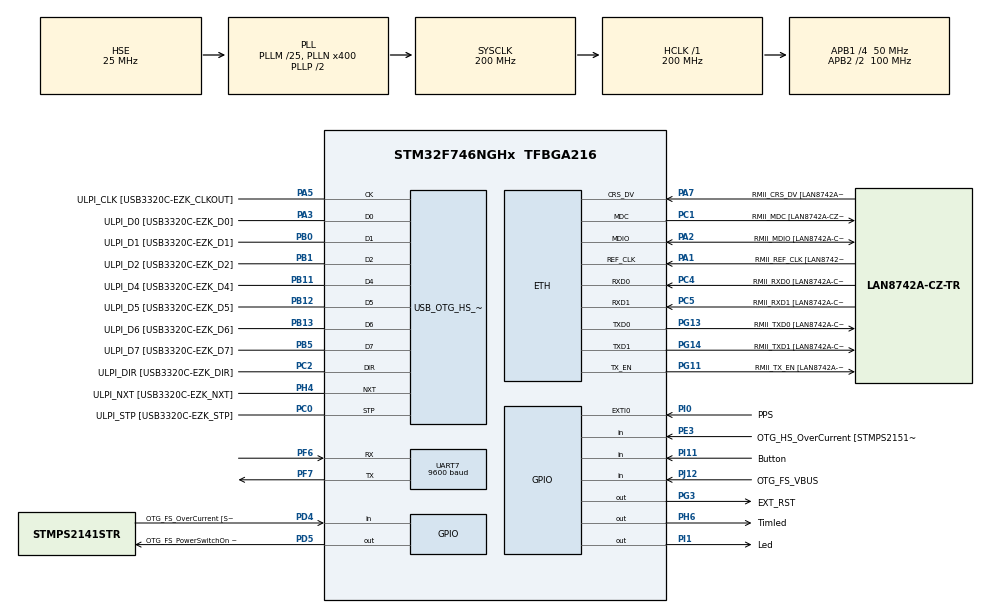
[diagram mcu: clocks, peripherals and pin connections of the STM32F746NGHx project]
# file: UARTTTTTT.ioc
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VP_SYS_VS_tim6.Mode=TIM6
NVIC.TIM6_DAC_IRQn=true\:0\:0\:false\:false\:true\:false\:false\:true
PA14.GPIO_Label=SWCLK
PH6.GPIO_Label=Timled
VP_RTC_VS_RTC_Activate.Mode=RTC_Enabled
PC5.Mode=RMII
PB13.Signal=USB_OTG_HS_ULPI_D6
PG13.Signal=ETH_TXD0
RCC.SYSCLKSource=RCC_SYSCLKSOURCE_PLLCLK
LWIP.NETMASK_ADDRESS=255.255.255.000
LWIP.LWIP_HTTPD=1
PI0.GPIO_PuPd=GPIO_PULLDOWN
PF7.Signal=UART7_TX
RCC.PLL48CLockSelection=RCC_CLK48SOURCE_PLLSAIP
PD4.Signal=GPIO_Input
RCC.APB2TimFreq_Value=200000000
PH1/OSC_OUT.Signal=RCC_OSC_OUT
PB3.Mode=Trace_Asynchronous_SW
RCC.RTCClockSelection=RCC_RTCCLKSOURCE_LSE
PB12.GPIO_Label=ULPI_D5 [USB3320C-EZK_D5]
PG14.Mode=RMII
PC4.GPIO_Label=RMII_RXD0 [LAN8742A-CZ-TR_RXD0]
PB1.GPIO_Label=ULPI_D2 [USB3320C-EZK_D2]
VP_FREERTOS_VS_CMSIS_V1.Mode=CMSIS_V1
VP_TIM1_VS_ClockSourceINT.Mode=Internal
Mcu.Package=TFBGA216
RCC.SDMMCClockSelection=RCC_SDMMC1CLKSOURCE_CLK48
PB1.Signal=USB_OTG_HS_ULPI_D2
NVIC.TimeBase=TIM6_DAC_IRQn
NVIC.TimeBaseIP=TIM6
VP_RTC_VS_RTC_Calendar.Mode=RTC_Calendar
RCC.APB2CLKDivider=RCC_HCLK_DIV2
RCC.APB1TimFreq_Value=100000000
PC14/OSC32_IN.GPIO_Label=RCC_OSC32_IN
TIM1.Period=49999
PB13.Mode=Host_HS
PI11.Signal=GPIO_Input
PC4.Mode=RMII
LWIP.IP_ADDRESS=192.168.000.055
PA5.Mode=Host_HS
FREERTOS.Tasks01=defaultTask,0,128,StartDefaultTask,Default,NULL,Dynamic,NULL,NULL;myTask02,-3,128,tcpecho_thread,Default,NULL,Dynamic,NULL,NULL
PC2.Signal=USB_OTG_HS_ULPI_DIR
PB11.GPIO_Label=ULPI_D4 [USB3320C-EZK_D4]
LWIP.LWIP_DHCP=0
PC0.Signal=USB_OTG_HS_ULPI_STP
RCC.APB1CLKDivider=RCC_HCLK_DIV4
PG13.GPIO_Label=RMII_TXD0 [LAN8742A-CZ-TR_TXD0]
RCC.PLLSAIRDiv=RCC_PLLSAIDIVR_8
PA3.Mode=Host_HS
TIM1.AutoReloadPreload=TIM_AUTORELOAD_PRELOAD_ENABLE
LWIP.LWIP_HTTPD_SUPPORT_POST=1
PB11.Mode=Host_HS
LWIP.LWIP_NETIF_LINK_CALLBACK=0
RTC.Format=RTC_FORMAT_BIN
PA5.Signal=USB_OTG_HS_ULPI_CK
PA1.Mode=RMII
PI1.Signal=GPIO_Output
PA1.GPIO_Label=RMII_REF_CLK [LAN8742A-CZ-TR_REFCLK0]
PA13.Mode=Trace_Asynchronous_SW
PG14.GPIO_Label=RMII_TXD1 [LAN8742A-CZ-TR_TXD1]
PH4.Mode=Host_HS
PB5.Signal=USB_OTG_HS_ULPI_D7
ETH.MediaInterface=ETH_MEDIA_INTERFACE_RMII
PA5.GPIO_Label=ULPI_CLK [USB3320C-EZK_CLKOUT]
PG11.Mode=RMII
ProjectManager.HeapSize=0x200
LWIP.LWIP_HTTPD_CUSTOM_FILES=1
PB1.Mode=Host_HS
LWIP.Version=v2.1.2_Cube
PH6.Signal=GPIO_Output
PF6.Mode=Asynchronous
NVIC.TIM1_UP_TIM10_IRQn=true\:5\:0\:false\:false\:true\:true\:true\:true
UART7.BaudRate=9600
NVIC.PriorityGroup=NVIC_PRIORITYGROUP_4
PI11.GPIO_Label=Button
PE3.Signal=GPIO_Input
PC15/OSC32_OUT.Signal=RCC_OSC32_OUT
PG3.GPIO_Label=EXT_RST
PB0.Signal=USB_OTG_HS_ULPI_D1
RTC.Date=31
PC1.Signal=ETH_MDC
PI1.GPIO_Label=Led
PC1.Mode=RMII
Mcu.Family=STM32F7
RCC.CortexFreq_Value=200000000
PC15/OSC32_OUT.GPIO_Label=RCC_OSC32_OUT
PC0.GPIO_Label=ULPI_STP [USB3320C-EZK_STP]
RTC.WeekDay=RTC_WEEKDAY_SUNDAY
PC14/OSC32_IN.Mode=LSE-External-Oscillator
PB0.GPIO_Label=ULPI_D1 [USB3320C-EZK_D1]
PB13.GPIO_Label=ULPI_D6 [USB3320C-EZK_D6]
PB11.Signal=USB_OTG_HS_ULPI_D4
PG11.Signal=ETH_TX_EN
ProjectManager.StackSize=0x400
TIM1.Prescaler=7999
PH0/OSC_IN.Mode=HSE-External-Oscillator
RCC.HCLKFreq_Value=200000000
RCC.AHBFreq_Value=200000000
NVIC.ETH_IRQn=true\:5\:0\:false\:false\:true\:true\:false\:true
RCC.HSE_VALUE=25000000
RTC.Minutes=59
RTC.Month=RTC_MONTH_DECEMBER
PA14.Mode=Trace_Asynchronous_SW
PI0.Signal=GPXTI0
PB5.Mode=Host_HS
PJ12.GPIO_Label=OTG_FS_VBUS
PG13.Mode=RMII
LWIP.LWIP_HTTPD_CGI=0
PH1/OSC_OUT.Mode=HSE-External-Oscillator
PB12.Mode=Host_HS
PJ12.Signal=GPIO_Input
PC14/OSC32_IN.Signal=RCC_OSC32_IN
PD5.GPIO_Label=OTG_FS_PowerSwitchOn [STMPS2141STR_EN]
PA2.GPIO_Label=RMII_MDIO [LAN8742A-CZ-TR_MDIO]
PI0.GPIO_Label=PPS
RCC.PLLSAIN=384
RCC.PLLSAIP=RCC_PLLSAIP_DIV8
RCC.PLLSAIR=5
PB5.GPIO_Label=ULPI_D7 [USB3320C-EZK_D7]
PG11.GPIO_Label=RMII_TX_EN [LAN8742A-CZ-TR_TXEN]
PC5.Signal=ETH_RXD1
PC2.GPIO_Label=ULPI_DIR [USB3320C-EZK_DIR]
PA3.Signal=USB_OTG_HS_ULPI_D0
PB3.GPIO_Label=SWO
RCC.PLLSourceVirtual=RCC_PLLSOURCE_HSE
PA7.Mode=RMII
PG3.Signal=GPIO_Output
PC4.Signal=ETH_RXD0
PC2.Mode=Host_HS
PD5.Signal=GPIO_Output
LWIP.LWIP_HTTPD_MAX_TAG_NAME_LEN=16
ETH.PhyAddress=0
VP_LWIP_VS_Enabled.Mode=Enabled
LWIP.GATEWAY_ADDRESS=192.168.000.001
PC0.Mode=Host_HS
PA13.Signal=SYS_JTMS-SWDIO
PF7.Mode=Asynchronous
PH4.Signal=USB_OTG_HS_ULPI_NXT
PF6.Signal=UART7_RX
ProjectManager.TargetToolchain=STM32CubeIDE
RCC.USBFreq_Value=48000000
CORTEX_M7.FlashInterface=AXI_Enabled
PA1.Signal=ETH_REF_CLK
PG14.Signal=ETH_TXD1
PB0.Mode=Host_HS
board=STM32F746G-DISCO
RCC.VCOOutputFreq_Value=400000000
PH4.GPIO_Label=ULPI_NXT [USB3320C-EZK_NXT]
PH0/OSC_IN.Signal=RCC_OSC_IN
RCC.APB2Freq_Value=100000000
LWIP.LWIP_HTTPD_CGI_SSI=0
PD4.GPIO_Label=OTG_FS_OverCurrent [STMPS2141STR_Fault]
PC1.GPIO_Label=RMII_MDC [LAN8742A-CZ-TR_MDC]
PD5.PinState=GPIO_PIN_SET
Mcu.Name=STM32F746NGHx
PA13.GPIO_Label=SWDIO
PA2.Signal=ETH_MDIO
PB3.Signal=SYS_JTDO-SWO
NVIC.EXTI0_IRQn=true\:5\:0\:false\:false\:true\:true\:true\:true
RCC.SYSCLKFreq_VALUE=200000000
RTC.Hours=23
PA7.GPIO_Label=RMII_CRS_DV [LAN8742A-CZ-TR_CRS_DV]
PC5.GPIO_Label=RMII_RXD1 [LAN8742A-CZ-TR_RXD1]
PC15/OSC32_OUT.Mode=LSE-External-Oscillator
PA14.Signal=SYS_JTCK-SWCLK
RCC.HSI_VALUE=16000000
PH0/OSC_IN.GPIO_Label=OSC_25M [NZ2520SB-25.00M_OUT]
RCC.PLLQ=9
RCC.PLLM=25
RCC.PLLN=400
PA2.Mode=RMII
PE3.GPIO_Label=OTG_HS_OverCurrent [STMPS2151STR_FAULT]
RCC.APB1Freq_Value=50000000
RCC.PLLI2SN=100
PB12.Signal=USB_OTG_HS_ULPI_D5
PA3.GPIO_Label=ULPI_D0 [USB3320C-EZK_D0]
PA7.Signal=ETH_CRS_DV
NVIC.UART7_IRQn=true\:5\:0\:false\:false\:true\:true\:true\:true

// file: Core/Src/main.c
/* USER CODE BEGIN Header */
/**
  ******************************************************************************
  * @file           : main.c
  * @brief          : Main program body
  ******************************************************************************
  * @attention
  *
  * <h2><center>&copy; Copyright (c) 2022 STMicroelectronics.
  * All rights reserved.</center></h2>
  *
  * This software component is licensed by ST under Ultimate Liberty license
  * SLA0044, the "License"; You may not use this file except in compliance with
  * the License. You may obtain a copy of the License at:
  *                             www.st.com/SLA0044
  *
  ******************************************************************************
  */
/* USER CODE END Header */
#include "main.h"
#include "cmsis_os.h"
#include "lwip.h"

/* USER CODE BEGIN Includes */
#include "stdio.h"
#include "string.h"
#include "stdlib.h"
#include <math.h>
#include "time.h"
#include "lwip/api.h"
#include "lwip/netif.h"
#include "lwip/apps/httpd.h"
#include "myapi.h"
#include "local_files.h"
#include "MyFlash.h"
#include <sys/socket.h>
#include <arpa/inet.h>
//#include "localtypes.h"
//#include "util.h"
/* USER CODE END Includes */

/* USER CODE BEGIN PTD */

#define NTP_MS_TO_FS_U32  (4294967296.0 / 1000.0)
#define NTP_MS_TO_FS_U16  (65536.0 / 1000.0)
/* Number of seconds between 1970 and Feb 7, 2036 06:28:16 UTC (epoch 1) */
#define DIFF_SEC_1970_2036          ((uint32_t)2085978496L)
#define NTP_TIMESTAMP_DELTA 2208988800ull

/* USER CODE END PTD */

RTC_HandleTypeDef hrtc;

TIM_HandleTypeDef htim1;

UART_HandleTypeDef huart7;

osThreadId defaultTaskHandle;
osThreadId myTask02Handle;
/* USER CODE BEGIN PV */
time_t rtc_read(void);
char calc_crc(char c,int cnt);
void tcpecho_init(void);
/* USER CODE END PV */

void SystemClock_Config(void);
static void MX_GPIO_Init(void);
static void MX_UART7_Init(void);
static void MX_RTC_Init(void);
static void MX_TIM1_Init(void);
void StartDefaultTask(void const * argument);
void tcpecho_thread(void const * argument);

/* USER CODE BEGIN 0 */
// это же дебаг
int _write(int file, char *ptr,int len){
	int i=0;
	for(i=0;i<len;i++)
		ITM_SendChar((*ptr++));
	return len;
}

	 //string, counts and two smoking errors
int ERRORS=0;
int Tipe_Mes=0;// 1-ZDA  2-RMC
int Test=0;
long long int gps_unix=0;
int zpt=0;
int start_crc=0;
int z=0;
int ind=0;
int crc=0;
int count=0;
int dec;
int PPS_count=0;//вынес для проверки
int PPS_mass[10]={0};//вынес для проверки
int crc_pars=0;
char time_buff[9]={0};
char crc_buff[3]={0};
char buff[1]={0};
int dataReceived=1;
int dataTransmitted=1;
char year_str[2]={0};
int century=100;
//_______________________________0_______1_______2________3_______4______5_______6_______7_______8_______9______10______11_____12_____13___14____15____16_____17______18_____19______20_____21______22_____23_____24_____25_____26_____27______28_____29______30
//int offset_minutes[]={         0,      0,      0,       0,      0,     0,      0,      0,    -30,      0,      0,      0,     0,     0,   0,    0,   30,     0,      0,    30,      0,    30,      0,     0,     0,    30,     0,     0,      0,     0,      0 };
//int offset_hours[]={         -11,    -10,     -9,      -8,     -7,    -6,     -5,     -4,     -3,      3,     -2,     -1,     0,     1,   2,    3,    3,     4,      5,     5,      6,     6,      7,     8,     9,     9,    10,    11,     12,    13,     14 };
const int offset_unix[]={   -39600, -36000, -32400,  -28800, -25200,-21600, -18000, -14400, -12600, -10800,  -7200,  -3600,     0, -3600,7200,10800,12600, 14400,  18000, 19800,  21600, 23400,  25200, 28800, 32400, 34200, 36000, 39600,  43200, 46800,  50400};
struct tm Time_calc;

typedef struct
{
	uint8_t li_vn_mode;

	uint8_t stratum;
	uint8_t poll;
	uint8_t precision;

	uint32_t rootDelay;

	uint16_t rootDispersion_s;
	uint16_t rootDispersion_f;

	uint32_t refId;

	uint32_t refTm_s;
	uint32_t refTm_f;

	uint32_t origTm_s;
	uint32_t origTm_f;

	uint32_t rxTm_s;
	uint32_t rxTm_f;

	uint32_t txTm_s;
	uint32_t txTm_f;

} ntp_packet_t;

/* From GNSS PPS */
 uint32_t time_ref_s;
 uint32_t time_ref_f;

typedef enum {
	NTPD_UNSYNC = 0,
	NTPD_IN_LOCK = 1,
	NTPD_IN_HOLDOVER = 2,
	NTPD_DEGRADED = 3
} ntpd_status_status_t;
typedef struct {
	ntpd_status_status_t status;
	uint32_t requests_count;
	uint8_t stratum;
} ntpd_status_t;

ntpd_status_t ntpd_status = {
  .status = NTPD_IN_LOCK,
  .requests_count = 0,
  .stratum = 1
};
//RTCDateTime ntpd_datetime;

/* USER CODE END 0 */

int main(void)
{
  /* USER CODE BEGIN 1 */

	memset(&gps,0,sizeof(gps));
	// ZDA-38;RMC-68

	 //включение ZDA
	 char MESZDA[]={0xB5, 0x62, 0x06, 0x01, 0x08, 0x00, 0xF0, 0x08, 0x01, 0x01, 0x00, 0x01, 0x01, 0x00, 0x0B, 0x6B};
	 char CONZDA[]={0xB5, 0x62, 0x06, 0x01, 0x02, 0x00, 0xF0, 0x08, 0x01, 0x19};

	 //отключение ZDA
	 //char MESZDA[]={0xB5, 0x62, 0x06, 0x01, 0x08, 0x00, 0xF0, 0x08, 0x00, 0x00, 0x00, 0x00, 0x00, 0x00, 0x07, 0x5B};
	 //char CONZDA[]={0xB5, 0x62, 0x06, 0x01, 0x02, 0x00, 0xF0, 0x08, 0x01, 0x19};

	 //отключение остального
	 char MESGGA[]={0xB5, 0x62, 0x06, 0x01, 0x08, 0x00, 0xF0, 0x00, 0x00, 0x00, 0x00, 0x00, 0x00, 0x00, 0xFF, 0x23};
	 char CONGGA[]={0xB5, 0x62, 0x06, 0x01, 0x02, 0x00, 0xF0, 0x00, 0xF9, 0x11};

	 char MESGLL[]={0xB5, 0x62, 0x06, 0x01, 0x08, 0x00, 0xF0, 0x01, 0x00, 0x00, 0x00, 0x00, 0x00, 0x00, 0x00, 0x2A};
	 char CONGLL[]={0xB5, 0x62, 0x06, 0x01, 0x02, 0x00, 0xF0, 0x01, 0xFA, 0x12};

	 char MESGSA[]={0xB5, 0x62, 0x06, 0x01, 0x08, 0x00, 0xF0, 0x02, 0x00, 0x00, 0x00, 0x00, 0x00, 0x00, 0x01, 0x31};
	 char CONGSA[]={0xB5, 0x62, 0x06, 0x01, 0x02, 0x00, 0xF0, 0x02, 0xFB, 0x13};

	 char MESGSV[]={0xB5, 0x62, 0x06, 0x01, 0x08, 0x00, 0xF0, 0x03, 0x00, 0x00, 0x00, 0x00, 0x00, 0x00, 0x02, 0x38};
	 char CONGSV[]={0xB5, 0x62, 0x06, 0x01, 0x02, 0x00, 0xF0, 0x03, 0xFC, 0x14};

	 char MESVTG[]={0xB5, 0x62, 0x06, 0x01, 0x08, 0x00, 0xF0, 0x05, 0x00, 0x00, 0x00, 0x00, 0x00, 0x00, 0x04, 0x46};
	 char CONVTG[]={0xB5, 0x62, 0x06, 0x01, 0x02, 0x00, 0xF0, 0x05, 0xFE, 0x16};

	 //отключение RMC на всякий
	 //char MESRMC[]={0xB5, 0x62, 0x06, 0x01, 0x08, 0x00, 0xF0, 0x04, 0x00, 0x00, 0x00, 0x00, 0x00, 0x00, 0x03, 0x3F};
	 //char CONRMC[]={0xB5, 0x62, 0x06, 0x01, 0x02, 0x00, 0xF0, 0x04, 0xFD, 0x15};

	 //включение RMC
	 char MESRMC[]={0xB5, 0x62, 0x06, 0x01, 0x08, 0x00, 0xF0, 0x04, 0x01, 0x01, 0x00, 0x01, 0x01, 0x00, 0x07, 0x4F};
	 char CONRMC[]={0xB5, 0x62, 0x06, 0x01, 0x02, 0x00, 0xF0, 0x04, 0xFD, 0x15};

  /* USER CODE END 1 */

  /* MCU Configuration--------------------------------------------------------*/

  /* Reset of all peripherals, Initializes the Flash interface and the Systick. */
  HAL_Init();

  /* Configure the system clock */
  SystemClock_Config();

  /* USER CODE BEGIN SysInit */
  //MX_LWIP_Init();
  /* USER CODE END SysInit */

  /* Initialize all configured peripherals */
  MX_GPIO_Init();
  MX_UART7_Init();
  MX_RTC_Init();
  MX_TIM1_Init();
  /* USER CODE BEGIN 2 */
  //TIM1
  HAL_TIM_Base_Start_IT(&htim1);

  HAL_Delay(5000);

 //ON ZDA
  HAL_UART_Transmit(&huart7,(uint8_t*) MESZDA, 16, 1000);
  HAL_Delay(100);
  HAL_UART_Transmit(&huart7,(uint8_t*) CONZDA, 10, 1000);
  HAL_Delay(100);

  // OFF protokol
  HAL_UART_Transmit(&huart7,(uint8_t*) MESGGA, 16, 1000);
  HAL_Delay(100);
  HAL_UART_Transmit(&huart7,(uint8_t*) CONGGA, 10, 1000);
  HAL_Delay(100);

  HAL_UART_Transmit(&huart7,(uint8_t*) MESGLL, 16, 1000);
  HAL_Delay(100);
  HAL_UART_Transmit(&huart7,(uint8_t*) CONGLL, 10, 1000);
  HAL_Delay(100);

  HAL_UART_Transmit(&huart7,(uint8_t*) MESGSA, 16, 1000);
  HAL_Delay(100);
  HAL_UART_Transmit(&huart7,(uint8_t*) CONGSA, 10, 1000);
  HAL_Delay(100);

  HAL_UART_Transmit(&huart7,(uint8_t*) MESGSV, 16, 1000);
  HAL_Delay(100);
  HAL_UART_Transmit(&huart7,(uint8_t*) CONGSV, 10, 1000);
  HAL_Delay(100);

  HAL_UART_Transmit(&huart7,(uint8_t*) MESVTG, 16, 1000);
  HAL_Delay(100);
  HAL_UART_Transmit(&huart7,(uint8_t*) CONVTG, 10, 1000);
  HAL_Delay(100);

  //отключение и включение RMC на всякий
  HAL_UART_Transmit(&huart7,(uint8_t*) MESRMC, 16, 1000);
  HAL_Delay(100);
  HAL_UART_Transmit(&huart7,(uint8_t*) CONRMC, 10, 1000);
  HAL_Delay(100);

  //start the web server
  int offset =0;
 ReadDeviceAddressOffset((char*) &user_info, sizeof(user_info), offset);
 offset+=sizeof(user_info);
 //Обнуление PPS
 PPS_count=0;
 gps.year[0]='V';
  /* USER CODE END 2 */

  /* Create the thread(s) */
  /* definition and creation of defaultTask */
  osThreadDef(defaultTask, StartDefaultTask, osPriorityNormal, 0, 128);
  defaultTaskHandle = osThreadCreate(osThread(defaultTask), NULL);

  /* definition and creation of myTask02 */
  osThreadDef(myTask02, tcpecho_thread, osPriorityIdle, 0, 128);
  myTask02Handle = osThreadCreate(osThread(myTask02), NULL);

  /* Start scheduler */
  osKernelStart();

  /* We should never get here as control is now taken by the scheduler */
  /* Infinite loop */
  while (1)
  {

  }
}

void SystemClock_Config(void)
{
  RCC_OscInitTypeDef RCC_OscInitStruct = {0};
  RCC_ClkInitTypeDef RCC_ClkInitStruct = {0};
  RCC_PeriphCLKInitTypeDef PeriphClkInitStruct = {0};

  /** Configure LSE Drive Capability
  */
  HAL_PWR_EnableBkUpAccess();
  __HAL_RCC_LSEDRIVE_CONFIG(RCC_LSEDRIVE_LOW);
  /** Configure the main internal regulator output voltage
  */
  __HAL_RCC_PWR_CLK_ENABLE();
  __HAL_PWR_VOLTAGESCALING_CONFIG(PWR_REGULATOR_VOLTAGE_SCALE1);
  /** Initializes the RCC Oscillators according to the specified parameters
  * in the RCC_OscInitTypeDef structure.
  */
  RCC_OscInitStruct.OscillatorType = RCC_OSCILLATORTYPE_HSE|RCC_OSCILLATORTYPE_LSE;
  RCC_OscInitStruct.HSEState = RCC_HSE_ON;
  RCC_OscInitStruct.LSEState = RCC_LSE_ON;
  RCC_OscInitStruct.PLL.PLLState = RCC_PLL_ON;
  RCC_OscInitStruct.PLL.PLLSource = RCC_PLLSOURCE_HSE;
  RCC_OscInitStruct.PLL.PLLM = 25;
  RCC_OscInitStruct.PLL.PLLN = 400;
  RCC_OscInitStruct.PLL.PLLP = RCC_PLLP_DIV2;
  RCC_OscInitStruct.PLL.PLLQ = 9;
  if (HAL_RCC_OscConfig(&RCC_OscInitStruct) != HAL_OK)
  {
    Error_Handler();
  }
  /** Activate the Over-Drive mode
  */
  if (HAL_PWREx_EnableOverDrive() != HAL_OK)
  {
    Error_Handler();
  }
  /** Initializes the CPU, AHB and APB buses clocks
  */
  RCC_ClkInitStruct.ClockType = RCC_CLOCKTYPE_HCLK|RCC_CLOCKTYPE_SYSCLK
                              |RCC_CLOCKTYPE_PCLK1|RCC_CLOCKTYPE_PCLK2;
  RCC_ClkInitStruct.SYSCLKSource = RCC_SYSCLKSOURCE_PLLCLK;
  RCC_ClkInitStruct.AHBCLKDivider = RCC_SYSCLK_DIV1;
  RCC_ClkInitStruct.APB1CLKDivider = RCC_HCLK_DIV4;
  RCC_ClkInitStruct.APB2CLKDivider = RCC_HCLK_DIV2;

  if (HAL_RCC_ClockConfig(&RCC_ClkInitStruct, FLASH_LATENCY_6) != HAL_OK)
  {
    Error_Handler();
  }
  PeriphClkInitStruct.PeriphClockSelection = RCC_PERIPHCLK_RTC|RCC_PERIPHCLK_UART7;
  PeriphClkInitStruct.RTCClockSelection = RCC_RTCCLKSOURCE_LSE;
  PeriphClkInitStruct.Uart7ClockSelection = RCC_UART7CLKSOURCE_PCLK1;
  if (HAL_RCCEx_PeriphCLKConfig(&PeriphClkInitStruct) != HAL_OK)
  {
    Error_Handler();
  }
}

static void MX_RTC_Init(void)
{

  RTC_TimeTypeDef sTime = {0};
  RTC_DateTypeDef sDate = {0};

  /** Initialize RTC Only
  */
  hrtc.Instance = RTC;
  hrtc.Init.HourFormat = RTC_HOURFORMAT_24;
  hrtc.Init.AsynchPrediv = 127;
  hrtc.Init.SynchPrediv = 255;
  hrtc.Init.OutPut = RTC_OUTPUT_DISABLE;
  hrtc.Init.OutPutPolarity = RTC_OUTPUT_POLARITY_HIGH;
  hrtc.Init.OutPutType = RTC_OUTPUT_TYPE_OPENDRAIN;
  if (HAL_RTC_Init(&hrtc) != HAL_OK)
  {
    Error_Handler();
  }

  /** Initialize RTC and set the Time and Date
  */
  sTime.Hours = 23;
  sTime.Minutes = 59;
  sTime.Seconds = 0;
  sTime.DayLightSaving = RTC_DAYLIGHTSAVING_NONE;
  sTime.StoreOperation = RTC_STOREOPERATION_RESET;
  if (HAL_RTC_SetTime(&hrtc, &sTime, RTC_FORMAT_BIN) != HAL_OK)
  {
    Error_Handler();
  }
  sDate.WeekDay = RTC_WEEKDAY_SUNDAY;
  sDate.Month = RTC_MONTH_DECEMBER;
  sDate.Date = 31;
  sDate.Year = 0;

  if (HAL_RTC_SetDate(&hrtc, &sDate, RTC_FORMAT_BIN) != HAL_OK)
  {
    Error_Handler();
  }

}

static void MX_TIM1_Init(void)
{

  TIM_ClockConfigTypeDef sClockSourceConfig = {0};
  TIM_MasterConfigTypeDef sMasterConfig = {0};

  htim1.Instance = TIM1;
  htim1.Init.Prescaler = 7999;
  htim1.Init.CounterMode = TIM_COUNTERMODE_UP;
  htim1.Init.Period = 49999;
  htim1.Init.ClockDivision = TIM_CLOCKDIVISION_DIV1;
  htim1.Init.RepetitionCounter = 0;
  htim1.Init.AutoReloadPreload = TIM_AUTORELOAD_PRELOAD_ENABLE;
  if (HAL_TIM_Base_Init(&htim1) != HAL_OK)
  {
    Error_Handler();
  }
  sClockSourceConfig.ClockSource = TIM_CLOCKSOURCE_INTERNAL;
  if (HAL_TIM_ConfigClockSource(&htim1, &sClockSourceConfig) != HAL_OK)
  {
    Error_Handler();
  }
  sMasterConfig.MasterOutputTrigger = TIM_TRGO_RESET;
  sMasterConfig.MasterOutputTrigger2 = TIM_TRGO2_RESET;
  sMasterConfig.MasterSlaveMode = TIM_MASTERSLAVEMODE_DISABLE;
  if (HAL_TIMEx_MasterConfigSynchronization(&htim1, &sMasterConfig) != HAL_OK)
  {
    Error_Handler();
  }

}

static void MX_UART7_Init(void)
{

  huart7.Instance = UART7;
  huart7.Init.BaudRate = 9600;
  huart7.Init.WordLength = UART_WORDLENGTH_8B;
  huart7.Init.StopBits = UART_STOPBITS_1;
  huart7.Init.Parity = UART_PARITY_NONE;
  huart7.Init.Mode = UART_MODE_TX_RX;
  huart7.Init.HwFlowCtl = UART_HWCONTROL_NONE;
  huart7.Init.OverSampling = UART_OVERSAMPLING_16;
  huart7.Init.OneBitSampling = UART_ONE_BIT_SAMPLE_DISABLE;
  huart7.AdvancedInit.AdvFeatureInit = UART_ADVFEATURE_NO_INIT;
  if (HAL_UART_Init(&huart7) != HAL_OK)
  {
    Error_Handler();
  }

}

static void MX_GPIO_Init(void)
{
  GPIO_InitTypeDef GPIO_InitStruct = {0};

  /* GPIO Ports Clock Enable */
  __HAL_RCC_GPIOE_CLK_ENABLE();
  __HAL_RCC_GPIOG_CLK_ENABLE();
  __HAL_RCC_GPIOB_CLK_ENABLE();
  __HAL_RCC_GPIOA_CLK_ENABLE();
  __HAL_RCC_GPIOJ_CLK_ENABLE();
  __HAL_RCC_GPIOD_CLK_ENABLE();
  __HAL_RCC_GPIOI_CLK_ENABLE();
  __HAL_RCC_GPIOC_CLK_ENABLE();
  __HAL_RCC_GPIOH_CLK_ENABLE();
  __HAL_RCC_GPIOF_CLK_ENABLE();

  /*Configure GPIO pin Output Level */
  HAL_GPIO_WritePin(OTG_FS_PowerSwitchOn_GPIO_Port, OTG_FS_PowerSwitchOn_Pin, GPIO_PIN_SET);

  /*Configure GPIO pin Output Level */
  HAL_GPIO_WritePin(Led_GPIO_Port, Led_Pin, GPIO_PIN_RESET);

  /*Configure GPIO pin Output Level */
  HAL_GPIO_WritePin(EXT_RST_GPIO_Port, EXT_RST_Pin, GPIO_PIN_RESET);

  /*Configure GPIO pin Output Level */
  HAL_GPIO_WritePin(Timled_GPIO_Port, Timled_Pin, GPIO_PIN_RESET);

  /*Configure GPIO pin : OTG_HS_OverCurrent_Pin */
  GPIO_InitStruct.Pin = OTG_HS_OverCurrent_Pin;
  GPIO_InitStruct.Mode = GPIO_MODE_INPUT;
  GPIO_InitStruct.Pull = GPIO_NOPULL;
  HAL_GPIO_Init(OTG_HS_OverCurrent_GPIO_Port, &GPIO_InitStruct);

  /*Configure GPIO pins : ULPI_D7_Pin ULPI_D6_Pin ULPI_D5_Pin ULPI_D2_Pin
                           ULPI_D1_Pin ULPI_D4_Pin */
  GPIO_InitStruct.Pin = ULPI_D7_Pin|ULPI_D6_Pin|ULPI_D5_Pin|ULPI_D2_Pin
                          |ULPI_D1_Pin|ULPI_D4_Pin;
  GPIO_InitStruct.Mode = GPIO_MODE_AF_PP;
  GPIO_InitStruct.Pull = GPIO_NOPULL;
  GPIO_InitStruct.Speed = GPIO_SPEED_FREQ_VERY_HIGH;
  GPIO_InitStruct.Alternate = GPIO_AF10_OTG_HS;
  HAL_GPIO_Init(GPIOB, &GPIO_InitStruct);

  /*Configure GPIO pin : OTG_FS_VBUS_Pin */
  GPIO_InitStruct.Pin = OTG_FS_VBUS_Pin;
  GPIO_InitStruct.Mode = GPIO_MODE_INPUT;
  GPIO_InitStruct.Pull = GPIO_NOPULL;
  HAL_GPIO_Init(OTG_FS_VBUS_GPIO_Port, &GPIO_InitStruct);

  /*Configure GPIO pin : OTG_FS_PowerSwitchOn_Pin */
  GPIO_InitStruct.Pin = OTG_FS_PowerSwitchOn_Pin;
  GPIO_InitStruct.Mode = GPIO_MODE_OUTPUT_PP;
  GPIO_InitStruct.Pull = GPIO_NOPULL;
  GPIO_InitStruct.Speed = GPIO_SPEED_FREQ_LOW;
  HAL_GPIO_Init(OTG_FS_PowerSwitchOn_GPIO_Port, &GPIO_InitStruct);

  /*Configure GPIO pin : OTG_FS_OverCurrent_Pin */
  GPIO_InitStruct.Pin = OTG_FS_OverCurrent_Pin;
  GPIO_InitStruct.Mode = GPIO_MODE_INPUT;
  GPIO_InitStruct.Pull = GPIO_NOPULL;
  HAL_GPIO_Init(OTG_FS_OverCurrent_GPIO_Port, &GPIO_InitStruct);

  /*Configure GPIO pin : Led_Pin */
  GPIO_InitStruct.Pin = Led_Pin;
  GPIO_InitStruct.Mode = GPIO_MODE_OUTPUT_PP;
  GPIO_InitStruct.Pull = GPIO_NOPULL;
  GPIO_InitStruct.Speed = GPIO_SPEED_FREQ_LOW;
  HAL_GPIO_Init(Led_GPIO_Port, &GPIO_InitStruct);

  /*Configure GPIO pin : PPS_Pin */
  GPIO_InitStruct.Pin = PPS_Pin;
  GPIO_InitStruct.Mode = GPIO_MODE_IT_RISING;
  GPIO_InitStruct.Pull = GPIO_PULLDOWN;
  HAL_GPIO_Init(PPS_GPIO_Port, &GPIO_InitStruct);

  /*Configure GPIO pin : Button_Pin */
  GPIO_InitStruct.Pin = Button_Pin;
  GPIO_InitStruct.Mode = GPIO_MODE_INPUT;
  GPIO_InitStruct.Pull = GPIO_NOPULL;
  HAL_GPIO_Init(Button_GPIO_Port, &GPIO_InitStruct);

  /*Configure GPIO pin : ULPI_NXT_Pin */
  GPIO_InitStruct.Pin = ULPI_NXT_Pin;
  GPIO_InitStruct.Mode = GPIO_MODE_AF_PP;
  GPIO_InitStruct.Pull = GPIO_NOPULL;
  GPIO_InitStruct.Speed = GPIO_SPEED_FREQ_VERY_HIGH;
  GPIO_InitStruct.Alternate = GPIO_AF10_OTG_HS;
  HAL_GPIO_Init(ULPI_NXT_GPIO_Port, &GPIO_InitStruct);

  /*Configure GPIO pins : ULPI_STP_Pin ULPI_DIR_Pin */
  GPIO_InitStruct.Pin = ULPI_STP_Pin|ULPI_DIR_Pin;
  GPIO_InitStruct.Mode = GPIO_MODE_AF_PP;
  GPIO_InitStruct.Pull = GPIO_NOPULL;
  GPIO_InitStruct.Speed = GPIO_SPEED_FREQ_VERY_HIGH;
  GPIO_InitStruct.Alternate = GPIO_AF10_OTG_HS;
  HAL_GPIO_Init(GPIOC, &GPIO_InitStruct);

  /*Configure GPIO pin : EXT_RST_Pin */
  GPIO_InitStruct.Pin = EXT_RST_Pin;
  GPIO_InitStruct.Mode = GPIO_MODE_OUTPUT_PP;
  GPIO_InitStruct.Pull = GPIO_NOPULL;
  GPIO_InitStruct.Speed = GPIO_SPEED_FREQ_LOW;
  HAL_GPIO_Init(EXT_RST_GPIO_Port, &GPIO_InitStruct);

  /*Configure GPIO pins : ULPI_CLK_Pin ULPI_D0_Pin */
  GPIO_InitStruct.Pin = ULPI_CLK_Pin|ULPI_D0_Pin;
  GPIO_InitStruct.Mode = GPIO_MODE_AF_PP;
  GPIO_InitStruct.Pull = GPIO_NOPULL;
  GPIO_InitStruct.Speed = GPIO_SPEED_FREQ_VERY_HIGH;
  GPIO_InitStruct.Alternate = GPIO_AF10_OTG_HS;
  HAL_GPIO_Init(GPIOA, &GPIO_InitStruct);

  /*Configure GPIO pin : Timled_Pin */
  GPIO_InitStruct.Pin = Timled_Pin;
  GPIO_InitStruct.Mode = GPIO_MODE_OUTPUT_PP;
  GPIO_InitStruct.Pull = GPIO_NOPULL;
  GPIO_InitStruct.Speed = GPIO_SPEED_FREQ_LOW;
  HAL_GPIO_Init(Timled_GPIO_Port, &GPIO_InitStruct);

  /* EXTI interrupt init*/
  HAL_NVIC_SetPriority(EXTI0_IRQn, 5, 0);
  HAL_NVIC_EnableIRQ(EXTI0_IRQn);

}

/* USER CODE BEGIN 4 */
void HAL_GPIO_EXTI_Callback(uint16_t GPIO_Pin){
	int PPS_Counter_period=0;
	//int PPS_count=0;//вынес для проверки
	//int PPS_mass[10]={0};//вынес для проверки
	if(GPIO_Pin == PPS_Pin) {
		if(PPS_count>2&&PPS_count<12){
		PPS_mass[PPS_count-2] = TIM1->CNT;
		}
		if(PPS_count==12){
			HAL_GPIO_TogglePin(Timled_GPIO_Port, Timled_Pin);
			PPS_Counter_period=(PPS_mass[0]+PPS_mass[1]+PPS_mass[2]+PPS_mass[3]+PPS_mass[4]+PPS_mass[5]+PPS_mass[6]+PPS_mass[7]+PPS_mass[8]+PPS_mass[9])/9;
			TIM1->ARR=PPS_Counter_period;
		}
	}
	if(PPS_count<13){
		PPS_count=PPS_count+1;
		TIM1->CNT = 0;//обнуление счетчика
		}

		}
void HAL_UART_RxCpltCallback(UART_HandleTypeDef *huart) {
	RTC_TimeTypeDef sTime = {0};
	RTC_DateTypeDef sDate = {0};
	if(huart == &huart7) {
		//$ message start
		if(buff[0]=='$'){
			count=0;
			zpt=0;
		}
		//Message error
		else if (count==1&&buff[0]!='G'){
			count=0;
			ERRORS++;
		}

		//CRC calculation
		int res = calc_crc(buff[0],count);
		if(res==1){
			//printf("crc=%d\t crc_buff=%s\t dec=%d\n\r",crc,crc_buff,dec);
			//RTC READ
			rtc_read();
			//printf("rtc_read=%llu\t",rtc_read());
			//comparison RTC&CRC
			//Time_calc.tm_wday = 1;//atoi(gps.);
			Time_calc.tm_mon = atoi(gps.month)-1;//-1 do January==0 month
			Time_calc.tm_mday = atoi(gps.day);
			if(year_str[0]=='0'&&year_str[1]=='0'){
				century=century+100;//atoi(gps.year)
			}
			Time_calc.tm_year = atoi(year_str) + century;
			Time_calc.tm_hour = atoi(gps.hours);
			Time_calc.tm_min = atoi(gps.minuttes);
			Time_calc.tm_sec = atoi(gps.seconds);
			gps_unix = mktime(&Time_calc);
			//printf("tm_year=%d\t tm_mon=%d\t tm_mday=%d\t tm_hour=%d\t tm_min=%d\t tm_sec=%d\n",Time_calc.tm_year,Time_calc.tm_mon,Time_calc.tm_mday,Time_calc.tm_hour,Time_calc.tm_min,Time_calc.tm_sec);
			//printf("rtc_read=%llu\t Time_calc=%llu\n",rtc_read(),gps_unix);

		}
		if(res==1&&gps_unix!=rtc_read()){

			time_ref_s=htonl(gps_unix- DIFF_SEC_1970_2036);
			sTime.Hours = Time_calc.tm_hour;
			sTime.Minutes = Time_calc.tm_min;
			sTime.Seconds = Time_calc.tm_sec;
			sTime.StoreOperation = RTC_STOREOPERATION_RESET;

			if (HAL_RTC_SetTime(&hrtc, &sTime, RTC_FORMAT_BIN) != HAL_OK)
			{
				Error_Handler();
			}
			sDate.Month = Time_calc.tm_mon;
			sDate.Date = Time_calc.tm_mday;
			sDate.Year = Time_calc.tm_year-century;
			if (HAL_RTC_SetDate(&hrtc, &sDate, RTC_FORMAT_BIN) != HAL_OK)
			{
				Error_Handler();
			}

		}
		//printf("rtc_read=%llu\t Time_calc=%llu\n",rtc_read(),gps_unix);

		//ZDA OR RMC
		if (count==3&&buff[0]=='Z'){
			Tipe_Mes=1;
		}
		else if(count==3&&buff[0]=='R'){
			Tipe_Mes=2;
		}
		//If ZDA
		if(Tipe_Mes==1){

			if(count==6&&buff[0]!=','){
				count=0;
				ERRORS++;
			}
			if(buff[0]==','){
				zpt++;
				ind=0;
			}
			if(zpt==1&&buff[0]!=','){
				time_buff[ind]=buff[0];
				ind++;
			}
			if(zpt==2&&buff[0]==','){
				gps.hours[0]=time_buff[0];
				gps.hours[1]=time_buff[1];
				gps.minuttes[0]=time_buff[2];
				gps.minuttes[1]=time_buff[3];
				gps.seconds[0]=time_buff[4];
				gps.seconds[1]=time_buff[5];
				gps.seconds[2]=time_buff[6];
				gps.seconds[3]=time_buff[7];
				gps.seconds[4]=time_buff[8];
			}
			if(zpt==2&&buff[0]!=','){

				time_buff[ind]=buff[0];
				ind++;
			}
			if(zpt==3&&buff[0]==','){
				gps.day[0]=time_buff[0];
				gps.day[1]=time_buff[1];
			}
			if(zpt==3&&buff[0]!=','){

				time_buff[ind]=buff[0];
				ind++;
			}
			if(zpt==4&&buff[0]==','){
				gps.month[0]=time_buff[0];
				gps.month[1]=time_buff[1];
			}
			if(zpt==4&&buff[0]!=','){

				time_buff[ind]=buff[0];
				ind++;
			}
			if(zpt==5&&buff[0]==','){
				gps.year[0]=time_buff[0];
				gps.year[1]=time_buff[1];
				gps.year[2]=time_buff[2];
				gps.year[3]=time_buff[3];
				year_str[0]=time_buff[2];
				year_str[1]=time_buff[3];
			}
		}

		//IF RMC
		if(Tipe_Mes==2){

			if(count==6&&buff[0]!=','){
				count=0;
				ERRORS++;
			}
			if(buff[0]==','){
				zpt++;
				ind=0;
			}
			if(zpt==1&&buff[0]!=','){

				time_buff[ind]=buff[0];
				ind++;
			}
			if(zpt==2&&buff[0]==','){
				gps.hours[0]=time_buff[0];
				gps.hours[1]=time_buff[1];
				gps.minuttes[0]=time_buff[2];
				gps.minuttes[1]=time_buff[3];
				gps.seconds[0]=time_buff[4];
				gps.seconds[1]=time_buff[5];
				gps.seconds[2]=time_buff[6];
				gps.seconds[3]=time_buff[7];
				gps.seconds[4]=time_buff[8];
			}
			if(zpt==2&&buff[0]!=','){

				time_buff[ind]=buff[0];
				ind++;
			}
			if(zpt==3&&buff[0]==','){
				gps.sinc[1]=time_buff[0];
			}

			if(zpt==9&&buff[0]!=','){

				time_buff[ind]=buff[0];
				ind++;
			}
			if(zpt==10&&buff[0]==','){
				gps.day[0]=time_buff[0];
				gps.day[1]=time_buff[1];
				gps.month[0]=time_buff[2];
				gps.month[1]=time_buff[3];
				gps.year[0]=time_buff[4];
				gps.year[1]=time_buff[5];
				year_str[0]=time_buff[4];
				year_str[1]=time_buff[5];
			}
		}

		//printf("buff=%c\tcount=%d\tzpt=%d\tind=%d\tTipe_Mes=%d\n\r",buff[0],count,zpt,ind,Tipe_Mes);
		//printf("crc_hx=%s\t crc=%d\t crc_buff=%s\t dec=%d\n\r",crc_hx,crc,crc_buff,dec);
		dataReceived=1;

		if( dataTransmitted != 0 ) {

			//HAL_UART_Transmit_IT(&huart6, (uint8_t *)buff, 1);

			dataReceived=0;
			dataTransmitted=0;
		}

		HAL_UART_Receive_IT (&huart7, (uint8_t *)buff, 1);
		gps.errors[1]=ERRORS;
		count++;
	}
}

void HAL_UART_TxCpltCallback(UART_HandleTypeDef *huart) {

//	//if(huart == &huart6) {

		dataTransmitted=1;

		if( dataReceived != 0 ) {
			//HAL_UART_Transmit_IT(&huart6, (uint8_t *)buff, 1);
			dataReceived=0;
			dataTransmitted=0;
		}
	//}
}

char Hex_to_dec(char hex[2]){
    int i;
    int dig; /*to store digit*/
    int cont = 0;
    dec = 0;
    for (i = (strlen(hex) - 1); i >= 0; i--) {
        switch (hex[i]) {
        case 'A':
            dig = 10;
            break;
        case 'B':
            dig = 11;
            break;
        case 'C':
            dig = 12;
            break;
        case 'D':
            dig = 13;
            break;
        case 'E':
            dig = 14;
            break;
        case 'F':
            dig = 15;
            break;
        default:
            dig = hex[i] - 0x30;
        }
        dec = dec + (dig)*pow((double)16, (double)cont);
        cont++;
    }
    return dec;
}

char calc_crc(char c,int cnt){
	if (c=='*'){
		start_crc=0;
		crc_pars=1;
		z=0;
	}
	if(start_crc==1){
		crc^=c;
	}
	if(crc_pars==1&&c!='*'&&z<=1){
		crc_buff[z]=c;
		z++;
	}
	if(c=='\n'){
		Hex_to_dec(crc_buff);
		if(crc==dec){
			//Test++;
			return 1;
		}
	}
	if(cnt==0){
		start_crc=1;
		crc_pars=0;
		crc=0;
	}
//	printf("crc=%d\t crc_buff=%s\t dec=%d\n\r",crc,crc_buff,dec);
	return 0;
}

time_t rtc_read(void) {
	RTC_DateTypeDef dateStruct;
	RTC_TimeTypeDef timeStruct;
	struct tm timeinfo;

	hrtc.Instance = RTC;

	// Read actual date and time
	HAL_RTC_GetTime(&hrtc, &timeStruct, FORMAT_BIN); // Read time first!
	HAL_RTC_GetDate(&hrtc, &dateStruct, FORMAT_BIN);

	// Setup a tm structure based on the RTC
	// monday==1 sunday==7
	timeinfo.tm_wday = dateStruct.WeekDay;
	timeinfo.tm_mon = dateStruct.Month;//-1 do January==0 month
	timeinfo.tm_mday = dateStruct.Date;
	timeinfo.tm_year = dateStruct.Year + 100;
	timeinfo.tm_hour = timeStruct.Hours;
	timeinfo.tm_min = timeStruct.Minutes;
	timeinfo.tm_sec = timeStruct.Seconds;
	//printf("tm_wday=%d\t\n",timeinfo.tm_wday);

	// Convert to timestamp
	time_t t = mktime(&timeinfo)+offset_unix[user_info.zone];

	return t;
}

void tcpecho_init(void)
{
	sys_thread_new("tcpecho_thread", tcpecho_thread, NULL,DEFAULT_THREAD_STACKSIZE, 1);
}

/* USER CODE END 4 */

void StartDefaultTask(void const * argument)
{
  /* init code for LWIP */
  MX_LWIP_Init();
  /* USER CODE BEGIN 5 */
  httpd_init();
	/* Initialize tcp echo server */
	tcpecho_init();

	  ip4_addr_t add;
	  inet_aton(user_info.ip, &add);
	  setIP(add.addr);

	ip4_addr_t mask;
	inet_aton(user_info.netmask, &mask);
	setNetmask(mask.addr);
	int IPres=0;
	/* Infinite loop */
	for(;;)
	{

		HAL_UART_Receive_IT (&huart7, (uint8_t*)&buff, 1);

		if(HAL_GPIO_ReadPin (GPIOI, Button_Pin)){

			IPres=IPres+1;
		}
		else
		{
			HAL_GPIO_WritePin(Led_GPIO_Port, Led_Pin,GPIO_PIN_RESET);
			if(IPres>5){
				memset(&user_info,0,sizeof(user_info));
				strncpy(user_info.ip,"192.168.0.68",13);
				strncpy(user_info.netmask,"255.255.255.0",14);
				user_info.zone=12;
				//setIPaddr
				ip4_addr_t add;
				inet_aton(user_info.ip, &add);
				setIP(add.addr);
				//setNetMask
				ip4_addr_t mask;
				inet_aton(user_info.netmask, &mask);
				setNetmask(mask.addr);
			}
			IPres=0;

		}
		//HAL_GPIO_TogglePin(Led_GPIO_Port, Led1_Pin);
		HAL_GPIO_TogglePin(Led_GPIO_Port, Led_Pin);
		//HAL_UART_Receive(&huart7, (uint8_t*)RXstr, MESsize, 1000);
		//HAL_UART_Transmit(&huart6, (uint8_t*)str, 8, 1000);
		HAL_Delay(1000);
		//HAL_Delay(1000);
	}

  /* USER CODE END 5 */
}

void tcpecho_thread(void const * argument)
{
  /* USER CODE BEGIN tcpecho_thread */
  /* Infinite loop */
		struct netconn *conn;
		err_t err,recv_err;
		struct netbuf *buf;
		uint16_t buf_data_len;

		ntp_packet_t *ntp_packet_ptr;
		//RTCDateTime ntpd_datetime;
		//RTCDateTime ntpd_datetime;
		//struct tm tm_;
		//uint32_t tm_ms_;

		/* Create a new connection identifier. */
		conn = netconn_new(NETCONN_UDP);
		if (conn!=NULL)
		{
			/* Bind connection to well known port number 7. */
			err = netconn_bind(conn, NULL, 123);
			if (err == ERR_OK)
			{
				while (1)
				{
					while (( recv_err = netconn_recv(conn, &buf)) == ERR_OK)
					{
						do
						{
							netbuf_data(buf, (void **)&ntp_packet_ptr, &buf_data_len);

							if(buf_data_len < 48 || buf_data_len > 2048)
							{
								netbuf_delete(buf);
								continue;
							}
							ntp_packet_ptr->li_vn_mode = (0 << 6) | (4 << 3) | (4); // Leap Warning: None, Version: NTPv4, Mode: 4 - Server
							ntp_packet_ptr->stratum = ntpd_status.stratum;
							ntp_packet_ptr->poll = 5; // 32s
							ntp_packet_ptr->precision = -10; // ~1ms

							ntp_packet_ptr->rootDelay = 0; // Delay from GPS clock is ~zero
							ntp_packet_ptr->rootDispersion_s = 0;
							ntp_packet_ptr->rootDispersion_f = htonl(NTP_MS_TO_FS_U16 * 1.0); // 1ms
							ntp_packet_ptr->refId = ('G') | ('P' << 8) | ('S' << 16) | ('\0' << 24);
							/* Move client's transmit timestamp into origin fields */
							ntp_packet_ptr->origTm_s = ntp_packet_ptr->txTm_s;
							ntp_packet_ptr->origTm_f = ntp_packet_ptr->txTm_f;

							ntp_packet_ptr->refTm_s = time_ref_s;
							ntp_packet_ptr->refTm_f = time_ref_f;

							//rtcGetTime(&RTCD1, &ntpd_datetime);
							//rtcConvertDateTimeToStructTm(&ntpd_datetime, &tm_, &tm_ms_);

							ntp_packet_ptr->rxTm_s = htonl(rtc_read()- DIFF_SEC_1970_2036);//htonl(mktime(&tm_) - DIFF_SEC_1970_2036);
							ntp_packet_ptr->rxTm_f = htonl((time_t)(((float)TIM1->CNT)/((float)TIM1->ARR)*4294967296.0));//htonl((NTP_MS_TO_FS_U32 * tm_ms_));

							/* Copy into transmit timestamp fields */
							ntp_packet_ptr->txTm_s = ntp_packet_ptr->rxTm_s;
							ntp_packet_ptr->txTm_f = ntp_packet_ptr->rxTm_f;

							netconn_send(conn, buf);
						}
						while (netbuf_next(buf) >= 0);

						netbuf_delete(buf);
					}
					/* Close connection and discard connection identifier. */
					//netconn_close(newconn);
					//netconn_delete(newconn);
					ntpd_status.requests_count++;
				}
			}
			else
			{
				netconn_delete(conn);
			}
		}

  /* USER CODE END tcpecho_thread */
}

 /**
  * @brief  Period elapsed callback in non blocking mode
  * @note   This function is called  when TIM6 interrupt took place, inside
  * HAL_TIM_IRQHandler(). It makes a direct call to HAL_IncTick() to increment
  * a global variable "uwTick" used as application time base.
  * @param  htim : TIM handle
  * @retval None
  */
void HAL_TIM_PeriodElapsedCallback(TIM_HandleTypeDef *htim)
{
  /* USER CODE BEGIN Callback 0 */
//    if(htim->Instance == TIM1) //check if the interrupt comes from TIM1
//    {
//            HAL_GPIO_TogglePin(Timled_GPIO_Port, Timled_Pin);
//            //200 МГц APB2
//   }
  /* USER CODE END Callback 0 */
  if (htim->Instance == TIM6) {
    HAL_IncTick();
  }
}

void Error_Handler(void)
{
  __disable_irq();
  while (1)
  {
  }
}

/************************ (C) COPYRIGHT STMicroelectronics *****END OF FILE****/
